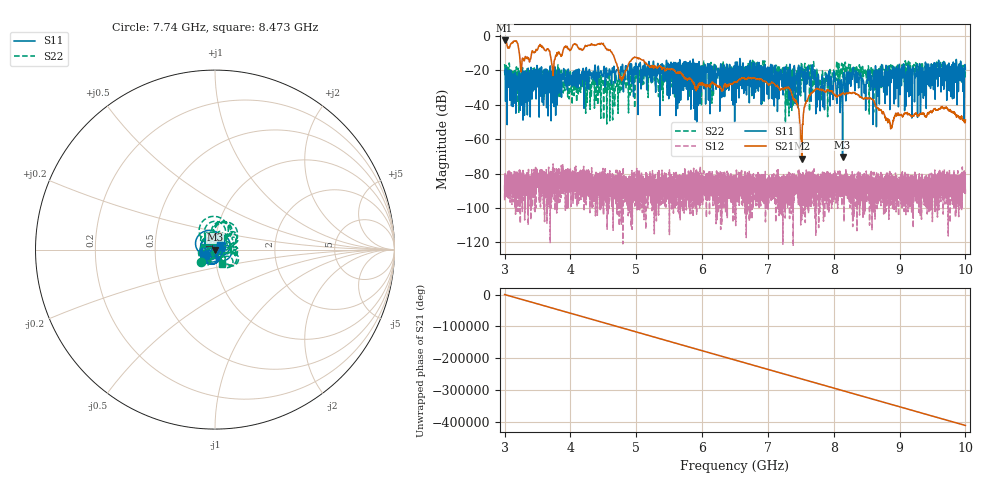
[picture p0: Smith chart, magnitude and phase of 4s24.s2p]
!Agilent Technologies,E8363B,MY43030572,A.06.04.32
!Agilent E8363B: A.06.04.32
!Date: Monday, June 06, 2011 14:52:55
!Correction: S11(Full 2 Port(1,2)) S21(Full 2 Port(1,2)) S12(Full 2 Port(1,2)) S22(Full 2 Port(1,2))
!S2P File: Measurements: S11, S21, S12, S22:
# Hz S  dB  R 50
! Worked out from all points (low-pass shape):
!   6401 points, 3 GHz to 10 GHz, reference 50 ohm
!   highest |S21| = -2.69 dB at 3 GHz (marker M1); lowest = -71.4 dB at 7.514 GHz (marker M2)
!   |S21| within 3 dB of the highest: 3.085 GHz to 3.205 GHz (120.7 MHz wide, 3.84 % of centre); 4.26 GHz to 4.51 GHz (250.3 MHz wide, 5.71 % of centre)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
!   lowest |S11| = -70.4 dB at 8.134 GHz (marker M3), VSWR 1.00, Z = 50 - j0.0289 ohm
!   |S11| at or under -10 dB: start of sweep to end of sweep
!   |S22| runs from -51.2 to -14.2 dB; largest |S21 - S12| = 0.73
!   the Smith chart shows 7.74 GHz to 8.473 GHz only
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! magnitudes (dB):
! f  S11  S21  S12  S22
! 3 GHz  -20.8  -2.7  -86.5  -16.4
! 3.173 GHz  -35.4  -3.0  -92.3  -21.1
! 3.269 GHz  -19.4  -13.4  -81.1  -18.6
! 3.545 GHz  -25.4  -5.8  -99.5  -24.3
! 3.735 GHz  -21.4  -23.1  -89.0  -20.3
! 4.167 GHz  -22.5  -7.8  -89.0  -24.2
! 4.493 GHz  -23.7  -4.8  -85.3  -25.4
! 4.775 GHz  -20.0  -25.8  -96.0  -29.6
! 4.973 GHz  -18.4  -12.3  -93.9  -28.7
! 5.334 GHz  -19.3  -18.2  -82.9  -30.1
! 5.91 GHz  -16.6  -32.1  -88.6  -19.4
! 6.5 GHz  -19.1  -27.1  -83.1  -21.7
! 7.314 GHz  -21.1  -29.8  -85.7  -22.5
! 7.514 GHz  -18.7  -71.4  -106.9  -15.7
! 7.573 GHz  -28.0  -39.4  -84.6  -19.6
! 7.667 GHz  -17.9  -33.4  -87.2  -18.8
! 8.134 GHz  -70.4  -33.2  -83.0  -24.0
! 8.275 GHz  -22.5  -33.4  -85.3  -20.0
! 8.578 GHz  -26.1  -36.6  -85.7  -20.1
! 8.834 GHz  -19.5  -49.5  -85.5  -21.1
! 9.66 GHz  -15.4  -42.0  -96.2  -17.8
! 10 GHz  -19.2  -48.8  -89.4  -19.8
